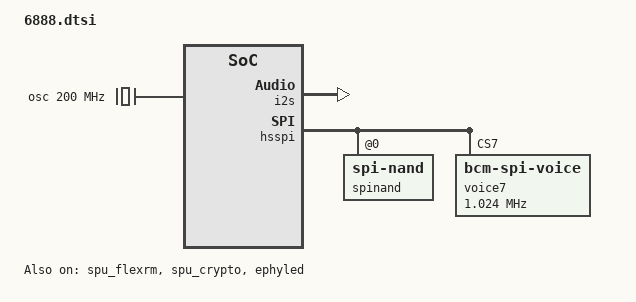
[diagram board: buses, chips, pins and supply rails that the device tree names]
/dts-v1/;

#include "linux_autoconf.h"

#include <dt-bindings/interrupt-controller/arm-gic.h>
#include <dt-bindings/interrupt-controller/irq.h>

#include "../../boot_rsvdmem.dtsi"
#include "../../bcm_thermal.dtsi"

/ {
    #define MODEL "Broadcom BCM96888"
    #define COMPATIBLE "brcm,bcm96888"

    /* memory reservations */
    #include "../../bcm_rsvdmem.dtsi"

    /* clocks */
    #define PERIPH_CLK      200000000
    #define HS_SPI_PLL_CLK  200000000
    #include "../../ip/bcm_clocks.dtsi"

    aliases {
        serial0     = &uart0;
        spi1        = &hsspi; /* 0 = legacy, 1 = high speed */
        hs_serial0  = &hs_uart0;
        spinand0    = &spinand;
        nand0       = &nand;
    };

    chosen {
        stdout-path = "serial0:115200n8";
        bootargs = "coherent_pool=2M cpuidle_sysfs_switch console=ttyAMA0,115200 earlyprintk  rootwait pci=pcie_bus_safe rng_core.default_quality=1024";
    };

    /* memc */
    memory_controller {
        #define MEMC_CPU_INT_LINE		18
        #include "../../ip/memc.dtsi"
    };

    /* wan type auto detect */
    wantype_detect {
        #define GPON_GENERAL_CONFIG_ADDR    0x0 0x80129000
        #define GPON_GENERAL_CONFIG_SIZE    0x0 0x10
        #define EPON_TOP_ADDR               0x0 0x80100000
        #define EPON_TOP_SIZE               0x0 0x1C
        #define EPON_LIF_ADDR               0x0 0x80101800
        #define EPON_LIF_SIZE               0x0 0x110
        #define EPON_XPCSR_ADDR             0x0 0x80103000
        #define EPON_XPCSR_SIZE             0x0 0x124
        #define NGPON_RXGEN_ADDR            0x0 0x8015C000
        #define NGPON_RXGEN_SIZE            0x0 0x80
        #include "../../ip/bcm_wantype_detect.dtsi"
    };

    misc_io {
        compatible = "brcm,misc-io";
        misc-periph-int-ctrl = <0x0 0xFF80260C 0x0 0x4>;
        sdio-emmc-clk-sel-mask = <0x00010000>;
        misc-emmc-cktap-ctrl = <0x0 0xFF80264C 0x0 0x20>;
        misc-periph-chip-id-rev     = <0x0 0xff800000 0x0 0x4>;
        misc-periph-chip-id-mask    = <0xfffff000>;
        misc-periph-chip-id-shift   = <12>;
        misc-periph-chip-rev-mask   = <0xfff>;
    };

    cci: cci {
        #define CCI_OFFSET              0x0 0x81100000
        #define CCI_SIZE                0x0 0x8000
        #define SLAVEINTF_CPU_NUM       1
        #include "../../ip/bcm_arm_cci500.dtsi"
    };

#if defined(CONFIG_BCM_PCIE_HCD) || defined (CONFIG_BCM_PCIE_HCD_MODULE)

    /* pcie common */
    pcie: pcie {
        compatible = "brcm,bcm-pcie";
        device_type = "cpci";
        brcm,pllclkid = <0x3210>;
    };

    /* pcie core 0 */
    pcie0: pcie@0 {
        #define PCIE_ID         0
        #define PCIE_SPI        79
        #define PCIE_ADDR       0x80080000
        #define PCIE_SIZE       0x0000A000
        #define PCIE_RANGE_ADDR 0xC0000000
        #define PCIE_RANGE_SIZE 0x10000000
        #include "../../ip/bcm_pcie_core.dtsi"
    };

    /* pcie core 1 */
    pcie1: pcie@1 {
        #define PCIE_ID         1
        #define PCIE_SPI        80
        #define PCIE_ADDR       0x80090000
        #define PCIE_SIZE       0x0000A000
        #define PCIE_RANGE_ADDR 0xD0000000
        #define PCIE_RANGE_SIZE 0x10000000
        #include "../../ip/bcm_pcie_core.dtsi"
    };

    /* pcie core 2 */
    pcie2: pcie@2 {
        #define PCIE_ID         2
        #define PCIE_SPI        81
        #define PCIE_ADDR       0x800A0000
        #define PCIE_SIZE       0x0000A000
        #define PCIE_RANGE_ADDR 0xE0000000
        #define PCIE_RANGE_SIZE 0x10000000
        #include "../../ip/bcm_pcie_core.dtsi"
    };

    /* pcie core 4 */
    pcie3: pcie@3 {
        #define PCIE_ID         3
        #define PCIE_SPI        82
        #define PCIE_ADDR       0x800B0000
        #define PCIE_SIZE       0x0000B000
        #define PCIE_RANGE_ADDR 0xA0000000
        #define PCIE_RANGE_SIZE 0x20000000
        #include "../../ip/bcm_pcie_core.dtsi"
    };
#endif // defined(CONFIG_BCM_PCIE_HCD) || defined (CONFIG_BCM_PCIE_HCD_MODULE)

    /* usb */
    usb_ctrl: usb_ctrl {
        #define USB_CTRL_ADDR   0x0 0x800CF200
        #define USB_CTRL_SIZE   0x0 0x200
        #include "../../ip/bcm_usb_ctrl.dtsi"
    };

    usb0_xhci: usb0_xhci {
        #define USB_ADDR    0x0 0x800C0000
        #define USB_SIZE    0x0 0x4a4
        #define GBL_ADDR    0x0 0x800CC100
        #define GBL_SIZE    0x0 0x548
        #define USB_IRQ     84
        #include "../../ip/bcm_usb_xhci.dtsi"
        xhci-no-companion;
    };

    /* PMC */
    pmc: pmc {
        #define PMC_REG_OFFSET          0x0 0xffb01018
        #define PMC_REG_SIZE            0x0 0x5080
        #define PROCMON_REG_OFFSET      0x0 0xffb20000
        #define PROCMON_REG_SIZE        0x0 0x240
        #define MAESTRO_REG_OFFSET      0x0 0xffb00400
        #define MAESTRO_REG_SIZE        0x0 0x5d0
        #define MAESTRO_DTCM_REG_OFFSET 0x0 0xffb80000
        #define MAESTRO_DTCM_REG_SIZE   0x0 0x1000
        #define MAESTRO_ITCM_REG_OFFSET 0x0 0xffbc0000
        #define MAESTRO_ITCM_REG_SIZE   0x0 0x4000
        #include "../../ip/bcm_pmc_3_2.dtsi"
    };

    /* UBUS */
    ubus: ubus {
        compatible      = "simple-bus";
        #address-cells  = <2>;
        #size-cells     = <2>;
        ranges;

        ubus_sys: ubus_sys {
            #address-cells = <2>;
            #size-cells    = <2>;
            #define UBUS_SYSTOP_OFFSET          0x0 0x83000000
            #define UBUS_SYSTOP_SIZE            0x0 0x80
            #define UBUS_REGISTRATION_OFFSET    0x0 0x83000200
            #define UBUS_REGISTRATION_SIZE      0x0 0x80
            #define UBUS_COHERENCY_PORT_OFFSET  0x0 0x810A0400
            #define UBUS_COHERENCY_PORT_SIZE    0x0 0x400
            #define UBUS_MODULE_XRDP            0x0
            #include "../../ip/bcm_ubus4.dtsi"
            ubus_mst_sys: ubus_mst {
                reg-names = "PER", "BIU", "MPM", "PCIE0",
                    "PCIE1", "PCIE2", "PCIE3", "SPU",
                    "USB", "DMA0", "DMA1", "DMA2",
                    "DMA3", "QM", "DQM", "RQ0",
                    "RQ1", "NATC";
                reg = <0x0 0x83010000 0x0 0x1000>,
                    <0x0 0x83020000 0x0 0x1000>,
                    <0x0 0x83030000 0x0 0x1000>,
                    <0x0 0x83038000 0x0 0x1000>,
                    <0x0 0x83040000 0x0 0x1000>,
                    <0x0 0x83048000 0x0 0x1000>,
                    <0x0 0x83050000 0x0 0x1000>,
                    <0x0 0x83058000 0x0 0x1000>,
                    <0x0 0x83070000 0x0 0x1000>,
                    <0x0 0x83078000 0x0 0x1000>,
                    <0x0 0x83088000 0x0 0x1000>,
                    <0x0 0x83090000 0x0 0x1000>,
                    <0x0 0x83098000 0x0 0x1000>,
                    <0x0 0x830a0000 0x0 0x1000>,
                    <0x0 0x830a8000 0x0 0x1000>,
                    <0x0 0x830b0000 0x0 0x1000>,
                    <0x0 0x830b8000 0x0 0x1000>,
                    <0x0 0x830bc000 0x0 0x1000>;
            };
        };

        ubus_dcm_sys: ubus_dcm_sys {
            #define UBUS_DCM_CLK_OFFSET  0x0 0x83000080
            #define UBUS_DCM_CLK_SIZE    0x0 0x80
            #define UBUS_MODULE_XRDP     0x0
            #include "../../ip/bcm_ubus4_dcm.dtsi"
        };
    };

    periph {
        compatible = "simple-bus";
        #address-cells = <2>;
        #size-cells = <2>;
        ranges = <0x0 0x0 0x0 0xff800000 0x0 0x100000>;

        /* boot state */
        boot_state: boot_state {
            #define RESET_REASON_OFFSET 0x0 0x2628
            #define RESET_REASON_SIZE   0x0 0x4
            #define RESET_STATUS_OFFSET 0x0 0x5a01c
            #define RESET_STATUS_SIZE   0x0 0x4
            #include "../../ip/bcm_boot_state_v2.dtsi"
        };

        strap: strap {
            #define STRAP_REG_OFFSET            0x0 0x2600
            #define STRAP_REG_SIZE              0x0 0x4
            #include "../../ip/bcm_strap.dtsi"
            boot-select-0=<0 1>;
            boot-select-1=<1 1>;
            boot-select-2=<2 1>;
            boot-select-3=<3 1>;
            boot-select-4=<4 1>;
            boot-select-5=<5 1>;
            bootrom-boot=<12 0>;
        };

        dying_gasp: dying_gasp {
            #define DG_PERIPH_REG_OFFSET    0x0 0x5A004
            #define DG_PERIPH_REG_SIZE      0x0 0x4
            #define DG_UART_DR_OFFSET       0x0 0x12000
            #define DG_UART_DR_SIZE         0x0 0x4
            #include "../../ip/bcm_dgasp_periph.dtsi"
            interrupts = <GIC_SPI 28 IRQ_TYPE_LEVEL_HIGH>;
        };

        otp: otp {
            #define OTP_REG_OFFSET          0x0 0x2800
            #define OTP_REG_SIZE            0x0 0x64
            #include "../../ip/bcm_otp.dtsi"
        };

        nand: nand {
            pinctrl-0 = <&nand_data_pins &nand_ctrl_pins>;
            pinctrl-names = "default";
            #define NAND_CTRL_OFFSET    0x0 0x1800
            #define NAND_CTRL_SIZE      0x0 0x400
            #define NAND_INTR_OFFSET    0x0 0x2000
            #define NAND_INTR_SIZE      0x0 0x10
            #define NAND_CACHE_OFFSET   0x0 0x1C00
            #define NAND_CACHE_SIZE     0x0 0x200
            #include "../../ip/bcm_nand7_1.dtsi"
        };

        /* EMMC */
        sdhci: sdhci {
            pinctrl-0 = <&emmc_ctrl_pins>;
            pinctrl-names="default";
            #define SDHCI_OFFSET			0x0 0x20000
            #define SDHCI_SIZE				0x0 0x300
            #define SDHCI_TOPCFG_OFFSET		0x0 0x20300
            #define SDHCI_TOPCFG_SIZE		0x0 0x200
            #define SDHCI_BOOT_OFFSET		0x0 0x20500
            #define SDHCI_BOOT_SIZE			0x0 0x40
            #define SDHCI_AHBSS_CTRL_OFFSET	0x0 0x10300
            #define SDHCI_AHBSS_CTRL_SIZE	0x0 0x100
            #define SDIO_EMMC_SPI			38
            #define SDHCI_HS200_BASE_CLOCK_FREQ 200000000
            sdhci-pll-baseclk-mhz = <6000>;
            sdhci-pll-valid-op-mhz = <50 100 133 157 181 200>;
            #include "../../ip/bcm_sdhci.dtsi"
        };

        /* UART */
        uart0: serial0 {
            #define UART_OFFSET     0x0 0x12000
            #define UART_SIZE       0x0 0x1000
            #define UART_SPI        31
            #define UART_CLK_LABEL  refclk50mhz
            #define UART_CLK        50000000
            #include "../../ip/bcm_arm_uart.dtsi"
        };

        uart1: serial1 {
            #define UART_OFFSET     0x0 0x13000
            #define UART_SIZE       0x0 0x1000
            #define UART_SPI        32
            #define UART_CLK_LABEL  refclk50mhz
            #define UART_CLK        50000000
            #include "../../ip/bcm_arm_uart.dtsi"
        };

        uart2: serial2 {
            #define UART_OFFSET     0x0 0x15000
            #define UART_SIZE       0x0 0x1000
            #define UART_SPI        33
            #define UART_CLK_LABEL  refclk50mhz
            #define UART_CLK        50000000
            #include "../../ip/bcm_arm_uart.dtsi"
        };

        hs_uart0: hs_serial0 {
            #define UART_OFFSET     0x0 0x10400
            #define UART_SIZE       0x0 0x1E0
            #define UART_SPI        34
            #include "../../ip/bcm_hs_uart.dtsi"
        };

        rng: rng {
            #define RNG200_OFFSET   0x0 0x00000b80
            #define RNG200_SIZE     0x0 0x30
            #include "../../ip/bcm_rng200.dtsi"
        };

        /* i2c */
        i2c0: i2c0 {
            #define I2C_OFFSET      0x0 0x2100
            #define I2C_SIZE        0x0 0x60
            #include "../../ip/bcm_i2c_bus.dtsi"
        };

        i2c1: i2c1 {
            #define I2C_OFFSET      0x0 0x5a800
            #define I2C_SIZE        0x0 0x60
            #include "../../ip/bcm_i2c_bus.dtsi"
        };

        bcm63xx-apm-pcm {
            compatible = "brcm,bcm63xx-apm-pcm";
            reg = <0x0 0x60000 0x0 0x1c60>;
            interrupts = <GIC_SPI 41 IRQ_TYPE_LEVEL_HIGH>;
        };

        i2s: bcm63xx-i2s {
            compatible  = "brcm,bcm63xx-i2s";
            reg         = <0x0 0x2080 0x0 0x80>;
            interrupts  = <GIC_SPI 44 IRQ_TYPE_LEVEL_HIGH>;
            clocks      = <&i2sclk>, <&osc>;
            clock-names = "i2sclk","i2sosc";
        };

        /* watchdog */
        wdt: watchdog {
            #define WATCHDOG_OFFSET     0x0 0x480
            #define WATCHDOG_SIZE       0x0 0x14
            #define WATCHDOG_TIMEOUT    80
            #include "../../ip/bcm_wdt.dtsi"
            interrupts = <GIC_SPI 16 IRQ_TYPE_LEVEL_HIGH>;
        };

        wdt1: watchdog1 {
            #define WATCHDOG_OFFSET     0x0 0x4c0
            #define WATCHDOG_SIZE       0x0 0x14
            #define WATCHDOG_TIMEOUT    80
            #include "../../ip/bcm_wdt.dtsi"
            interrupts = <GIC_SPI 15 IRQ_TYPE_LEVEL_HIGH>;
        };

        /* periph timers */
        timers: timers {
            #define TIMERS_OFFSET       0x0 0x400
            #define TIMERS__SIZE        0x0 0x48
            #define TIMER0_SPI          11
            #define TIMER1_SPI          12
            #define TIMER2_SPI          13
            #define TIMER3_SPI          14
            #include "../../ip/bcm_timer.dtsi"
        };

        /* watchdog reboot */
        wdt-reboot {
            compatible    = "wdt-reboot";
            wdt            = <&wdt>;
        };

        pincontroller: pinctrl {
            #define PINCTRL_OFFSET      0x0 0x554
            #define PINCTRL_SIZE        0x0 0xc
            #define PINCTRL_NUM_PINS    77
            #define PINCTRL_NUM_FUNC    7
            #define PINCTRL_GPIO_FUNC   4
            #include "../../ip/bcm_bca_pinctrl.dtsi"
            #include "6888_pinctrl.dtsi"
        };

        /* gpio */
        gpioc: gpioc {
            #define GPIO_DIR_OFFSET     0x0 0x500
            #define GPIO_DIR_SIZE       0x0 0x20
            #define GPIO_DATA_OFFSET    0x0 0x520
            #define GPIO_DATA_SIZE      0x0 0x20
            #define NUM_OF_GPIOS        77
            #include "../../ip/bcm_bca_gpio.dtsi"
        };

        /* external interrups */
        bca_extintr: bca_extintr0 {
            #define EXTINTR_OFFSET  0x0 0x4
            #define EXTINTR_SIZE    0x0 0x48
            #define INTSET0_OFFSET  0x0 0x100
            #define INTSET0_SIZE    0x0 0x90
            #define INTSET1_OFFSET  0x0 0x200
            #define INTSET1_SIZE    0x0 0x90
            #define MAX_EXT_INTR    8
            #include "../../ip/bcm_bca_extintr.dtsi"
            external_interrupts = <47 48 49 50 51 52 53 54>;
        };

        /* HS SPI */
        hsspi: spi {
            pinctrl-0 = <&spim_group_pins>;
            pinctrl-names = "default";
            #define HS_SPI_OFFSET   0x0 0x1000
            #define HS_SPI_SIZE     0x0 0x600
            #define HS_SPI_MAX_FREQ 50000000
            /* #define HS_SPIM_SPI     36 */
            #include "../../ip/bcm_hsspi.dtsi"

            spinand: spi-nand@0 {
                pinctrl-0     = <&spim_ss0_b_pin_25>;
                pinctrl-names = "default";
                #define SPINAND_MAX_FREQ    50000000
                #include "../../ip/bcm_spinand.dtsi"
            };

            voice7 {
                pinctrl-0     = <&b_pcm_clk_pin_20 &b_pcm_fs_pin_21 &b_pcm_sdin_pin_18 &b_pcm_sdout_pin_19>;
                pinctrl-names = "default";
                compatible    = "bcm-spi-voice";
                reg           = <7>; /* chip select 7 */
                spi-index     = <7>;/* ZSI/ISI header position index */
                spi-max-frequency = <1024000>;
            };

        };

        /* Led Controller */
        led_ctrl: led_ctrl {
            #define CLED_GLBL_CTRL_OFFSET           0x0 0x3000
            #define CLED_GLBL_CTRL_SIZE             0x0 0x4
            #define CLED_HW_EN_OFFSET               0x0 0x3004
            #define CLED_HW_EN_SIZE                 0x0 0x4
            #define CLED_SER_SHIFT_OFFSET           0x0 0x3008
            #define CLED_SER_SHIFT_SIZE             0x0 0x4
            #define CLED_HW_POLARITY_OFFSET         0x0 0x300c
            #define CLED_HW_POLARITY_SIZE           0x0 0x4
            #define CLED_SW_SET_OFFSET              0x0 0x3010
            #define CLED_SW_SET_SIZE                0x0 0x4
            #define CLED_SW_POLARITY_OFFSET         0x0 0x3014
            #define CLED_SW_POLARITY_SIZE           0x0 0x4
            #define CLED_CH_ACTIVATE_OFFSET         0x0 0x301c
            #define CLED_CH_ACTIVATE_SIZE           0x0 0x4
            #define CLED_XX_CONFIG_OFFSET           0x0 0x3020
            #define CLED_XX_CONFIG_SIZE             0x0 0x200
            #define CLED_SW_CLEAR_OFFSET            0x0 0x3444
            #define CLED_SW_CLEAR_SIZE              0x0 0x4
            #define CLED_SW_STATUS_OFFSET           0x0 0x3448
            #define CLED_SW_STATUS_SIZE             0x0 0x4
            #define CLED_OUT_MUX_OFFSET             0x0 0x3460
            #define CLED_OUT_MUX_SIZE               0x0 0x20
            #define CLED_SERIAL_POLARITY_OFFSET     0x0 0x3454
            #define CLED_SERIAL_POLARITY_SIZE       0x0 0x4
            #define CLED_PARALLEL_POLARITY_OFFSET   0x0 0x3018
            #define CLED_PARALLEL_POLARITY_SIZE     0x0 0x4
            #define MAX_SUPPORTED_LEDS              32

            #include "../../ip/bcm_cled_v2_ctrl.dtsi"
            #include "6888_leds.dtsi"
        };
    };

    legacy_leds: legacy_leds {
        compatible = "brcm,legacy-led";
    };

    ephyled {
        compatible = "brcm,ephy-led";
        led_reg_max = <16>;
        reg-names = "aggregate_ctrl", "led_reg_0", "led_reg_1", "led_reg_2",\
                    "led_reg_3", "led_reg_4","led_reg_5", "led_reg_6",\
                    "led_reg_7", "led_reg_8", "led_reg_9", "led_reg_10",\
                    "led_reg_11", "led_reg_12", "led_reg_13", "led_reg_14",\
                    "led_reg_15";
        reg = <0 0x837FF1DC 0 0x4>, <0 0x837FF108 0 0xc>, <0 0x837FF114 0 0xc>, <0 0x837FF120 0 0xc>,\
              <0 0x837FF12C 0 0xc>, <0 0x837FF138 0 0xc>, <0 0x837FF144 0 0xc>, <0 0x837FF150 0 0xc>,\
              <0 0x837FF15C 0 0xc>, <0 0x837FF168 0 0xc>, <0 0x837FF174 0 0xc>, <0 0x837FF180 0 0xc>,\
              <0 0x837FF18C 0 0xc>, <0 0x837FF198 0 0xc>, <0 0x837FF1A4 0 0xc>, <0 0x837FF1B0 0 0xc>,\
              <0 0x837FF1BC 0 0xc>;
        status = "okay";
    };

    xport:xport {
        compatible = "brcm,xport";
        reg = <0x0 0x837f0000 0x0 0xc000>,  /* XPORT base */
              <0x0 0x828b2000 0x0 0x1800>;  /* XLIF base */
        status = "disabled";
    };

    ethphytop:ethphytop {
        compatible = "brcm,eth-phy-top";
        reg = <0x0 0x837ff000 0x0 0x1000>;
        xphy0-addr = <0x2>;
        xphy1-addr = <0x3>;
        status = "disabled";
    };

    egphy:egphy {
        compatible = "brcm,egphy";
        reg = <0x0 0x837ff010 0x0 0x0c>;
        base-addr = <0x8>;
        status = "disabled";
    };

    rgmii:rgmii {
        compatible = "brcm,rgmii2";
        reg = <0x0 0x837ff1e4 0x0 0x40>,
              <0x0 0xff800500 0x0 0x78>;
        status = "disabled";
    };

    unimac:unimac {
        compatible = "brcm,unimac3";
        reg = <0x0 0x828a8000 0x0 0x5000>,
              <0x0 0x828b0000 0x0 0x1400>;
        conf_offset = <0x1000>;
        mib_offset = <0x400>;
        top_offset = <0x400>;
        status = "disabled";
    };

    serdes:serdes {
        compatible = "brcm,serdes1";
        reg = <0x0 0x837ff500 0x0 0x200>;
        status = "disabled";
    };

    mdio1:mdio1 {
        compatible = "brcm,mdio1";
        reg = <0x0 0x837ffd00 0x0 0x10>;
        status = "disabled";
    };

    mpcs:mpcs{
        compatible = "brcm,mpcs";
        reg = <0x0 0x80104000 0x0 0x100
               0x0 0x80100000 0x0 0x10>;
        status = "disabled";
    };

    mdio: mdio {
        compatible = "simple-bus";
        bus-type = "MDIO_V1";
        #address-cells = <1>;
        #size-cells = <0>;

        egphy0:egphy0 {
            compatible = "brcm,bcaphy";
            phy-type = "EGPHY";
            reg = <0x8>;
            status = "disabled";
        };

        egphy1:egphy1 {
            compatible = "brcm,bcaphy";
            phy-type = "EGPHY";
            reg = <0x9>;
            status = "disabled";
        };

        egphy2:egphy2 {
            compatible = "brcm,bcaphy";
            phy-type = "EGPHY";
            reg = <0xa>;
            status = "disabled";
        };

        egphy3:egphy3 {
            compatible = "brcm,bcaphy";
            phy-type = "EGPHY";
            reg = <0xb>;
            status = "disabled";
        };

        rgmii_phy:rgmii_phy {
            compatible = "brcm,bcaphy";
            phy-type = "EXT1";
            reg = <0x1>;
            status = "disabled";
        };

        xphy0:xphy0 {
            compatible = "brcm,bcaphy";
            phy-type = "EXT3";
            reg = <0x2>;
            caps-no-hdx;
            status = "disabled";
        };

        xphy1:xphy1 {
            compatible = "brcm,bcaphy";
            phy-type = "EXT3";
            reg = <0x3>;
            caps-no-hdx;
            status = "disabled";
        };

        serdes00_xphy:serdes00_xphy {
            compatible = "brcm,bcaphy";
            phy-type = "EXT3";
            reg = <0x4>;
            caps-no-hdx;
            status = "disabled";
        };

        serdes01_xphy:serdes01_xphy {
            compatible = "brcm,bcaphy";
            phy-type = "EXT3";
            reg = <0x5>;
            caps-no-hdx;
            status = "disabled";
        };

        serdes02_xphy:serdes02_xphy {
            compatible = "brcm,bcaphy";
            phy-type = "EXT3";
            reg = <0x6>;
            caps-no-hdx;
            status = "disabled";
        };

        serdes03_xphy:serdes03_xphy {
            compatible = "brcm,bcaphy";
            phy-type = "EXT3";
            reg = <0x7>;
            caps-no-hdx;
            status = "disabled";
        };

        serdes10_xphy:serdes10_xphy {
            compatible = "brcm,bcaphy";
            phy-type = "EXT3";
            reg = <0xc>;
            caps-no-hdx;
            status = "disabled";
        };

        serdes11_xphy:serdes11_xphy {
            compatible = "brcm,bcaphy";
            phy-type = "EXT3";
            reg = <0xd>;
            caps-no-hdx;
            status = "disabled";
        };

        serdes12_xphy:serdes12_xphy {
            compatible = "brcm,bcaphy";
            phy-type = "EXT3";
            reg = <0xe>;
            caps-no-hdx;
            status = "disabled";
        };

        serdes13_xphy:serdes13_xphy {
            compatible = "brcm,bcaphy";
            phy-type = "EXT3";
            reg = <0xf>;
            caps-no-hdx;
            status = "disabled";
        };

        serdes00:serdes00 {
             compatible = "brcm,bcaphy";
             phy-type = "SHORTFIN";
             reg = <0x10>;
             serdes-core = <0>;
             serdes-lane = <0>;
             status = "disabled";
        };

        serdes01:serdes01 {
             compatible = "brcm,bcaphy";
             phy-type = "SHORTFIN";
             reg = <0x11>;
             serdes-core = <0>;
             serdes-lane = <1>;
             status = "disabled";
        };

        serdes02:serdes02 {
             compatible = "brcm,bcaphy";
             phy-type = "SHORTFIN";
             reg = <0x12>;
             serdes-core = <0>;
             serdes-lane = <2>;
             status = "disabled";
        };

        serdes03:serdes03 {
             compatible = "brcm,bcaphy";
             phy-type = "SHORTFIN";
             reg = <0x13>;
             serdes-core = <0>;
             serdes-lane = <3>;
             status = "disabled";
        };

        serdes10:serdes10 {
             compatible = "brcm,bcaphy";
             phy-type = "SHASTA";
             reg = <0x14>;
             serdes-core = <1>;
             serdes-lane = <0>;
             status = "disabled";
        };

        serdes11:serdes11 {
            compatible = "brcm,bcaphy";
            phy-type = "SHASTA";
            reg = <0x15>;
            serdes-core = <1>;
            serdes-lane = <1>;
            status = "disabled";
        };

        serdes12:serdes12 {
            compatible = "brcm,bcaphy";
            phy-type = "SHASTA";
            reg = <0x16>;
            serdes-core = <1>;
            serdes-lane = <2>;
            status = "disabled";
        };

        serdes13:serdes13 {
            compatible = "brcm,bcaphy";
            phy-type = "SHASTA";
            reg = <0x17>;
            serdes-core = <1>;
            serdes-lane = <3>;
            status = "disabled";
        };

        wan_xphy:wan_xphy {
             compatible = "brcm,bcaphy";
             phy-type = "EXT3";
             reg = <0x1b>;
             caps-no-hdx;
             status = "disabled";
        };

        wan_ae:wan_ae {
             compatible = "brcm,bcaphy";
             phy-type = "AE";
             reg = <0x20>;
             status = "disabled";
        };
    };

    wan_serdes_bus {
        compatible = "simple-bus";

        #address-cells = <1>;
        #size-cells = <0>;

        phy_wan_serdes: phy_wan_serdes {
            compatible = "brcm,bcaphy";
            phy-type = "PON";
            reg = <0>;
            status = "disabled";
        };
    };

    switch0:switch0 {
            compatible = "brcm,enet";
            label = "bcmsw";
            sw-type = "RUNNER_SW";
            bandwidth = <42000>;

            ports {
                #address-cells = <1>;
                #size-cells = <0>;

                port_gphy0 {
                    reg = <0>;
                    mac-type = "UNIMAC";
                    phy-handle = <&egphy0>;
                    phy-mode = "gmii";
                    status = "disabled";
                };

                port_gphy1 {
                    reg = <1>;
                    mac-type = "UNIMAC";
                    phy-handle = <&egphy1>;
                    phy-mode = "gmii";
                    status = "disabled";
                };

                port_gphy2 {
                    reg = <2>;
                    mac-type = "UNIMAC";
                    phy-handle = <&egphy2>;
                    phy-mode = "gmii";
                    status = "disabled";
                };

                port_gphy3 {
                    reg = <3>;
                    mac-type = "UNIMAC";
                    phy-handle = <&egphy3>;
                    phy-mode = "gmii";
                    status = "disabled";
                };

                port_rgmii {
                    reg = <4>;
                    mac-type = "UNIMAC";
                    phy-handle = <&rgmii_phy>;
                    phy-mode = "rgmii";
                    status = "disabled";
                };

                port_xgphy0 {
                    reg = <5>;
                    mac-type = "XPORT";
                    mac-index = <0>;
                    phy-handle = <&xphy0>;
                    phy-mode = "xfi";
                    status = "disabled";
                };

                port_wan@ae {
                    reg = <6>;
                    mac-type = "XPORT";
                    mac-index = <1>;
                    phy-handle = <&wan_ae>;
                    phy-mode = "xfi";
                    detect;
                    is-wanconf-ae;
                    status = "disabled";
                };

                port_xgphy1 {
                    reg = <7>;
                    mac-type = "XPORT";
                    mac-index = <2>;
                    phy-handle = <&xphy1>;
                    phy-mode = "xfi";
                    status = "disabled";
                };

                port_slan0 {
                    reg = <8>;
                    mac-type = "XPORT";
                    mac-index = <4>;
                    phy-handle = <&serdes00>;
                    phy-mode = "xfi";
                    status = "disabled";
                };

                port_slan1 {
                    reg = <9>;
                    mac-type = "XPORT";
                    mac-index = <5>;
                    phy-handle = <&serdes01>;
                    phy-mode = "xfi";
                    status = "disabled";
                };

                port_slan2 {
                    reg = <10>;
                    mac-type = "XPORT";
                    mac-index = <6>;
                    phy-handle = <&serdes02>;
                    phy-mode = "xfi";
                    status = "disabled";
                };

                port_slan3 {
                    reg = <11>;
                    mac-type = "XPORT";
                    mac-index = <7>;
                    phy-handle = <&serdes03>;
                    phy-mode = "xfi";
                    status = "disabled";
                };

                port_qlan0 {
                    reg = <12>;
                    mac-type = "XPORT";
                    mac-index = <8>;
                    phy-handle = <&serdes10>;
                    phy-mode = "xfi";
                    status = "disabled";
                };

                port_qlan1 {
                    reg = <13>;
                    mac-type = "XPORT";
                    mac-index = <9>;
                    phy-handle = <&serdes11>;
                    phy-mode = "xfi";
                    status = "disabled";
                };

                port_qlan2 {
                    reg = <14>;
                    mac-type = "XPORT";
                    mac-index = <10>;
                    phy-handle = <&serdes12>;
                    phy-mode = "xfi";
                    status = "disabled";
                };

                port_qlan3 {
                    reg = <15>;
                    mac-type = "XPORT";
                    mac-index = <11>;
                    phy-handle = <&serdes13>;
                    phy-mode = "xfi";
                    status = "disabled";
                };

                port_wan@fiber {
                    reg = <16>;
                    phy-handle = <&phy_wan_serdes>;
                    phy-mode = "serdes";                    
                    detect;
                    is-wanconf-mux-pon;
                    is-wan;
                    status = "disabled";
                };
            };
        };

    /* spu */
    #define SPU_DMA_ADDR        0x00000000 0x83800000
    #define SPU_DMA_SIZE        0x00000000 0x400000
    #define SPU_DMA_NUM_CHAN    4
    #define SPU_DMA_NUM_AE      2
    #define SPU_CRYPTO_ADDR     0x00000000 0x83800000
    #define SPU_CRYPTO_SIZE     0x00000000 0x400000
    #define SPU_GMAC_SPI        67
    #include "../../ip/bcm_spu.dtsi"

    gpon_drv {
        compatible = "brcm,gpon-drv";
        reg = <0x0 0x80128000 0x0 0x1c00>;
        interrupts = <GIC_SPI 173  IRQ_TYPE_LEVEL_HIGH>, /* INTERRUPT_WAN_GPON_RX */
                     <GIC_SPI 172  IRQ_TYPE_LEVEL_HIGH>; /* INTERRUPT_WAN_GPON_TX */
        interrupt-names = "gpon_rx", "gpon_tx";
    };
    ngpon_drv {
        compatible = "brcm,ngpon-drv";
        reg = <0x0 0x8015c000 0x0 0x9080>;
        enforce-long-preamble;
        interrupts = <GIC_SPI 161  IRQ_TYPE_LEVEL_HIGH>, /* INTERRUPT_WAN_XGRX */
                     <GIC_SPI 165  IRQ_TYPE_LEVEL_HIGH>, /* INTERRUPT_WAN_XGTX_INTR0 */
                     <GIC_SPI 164  IRQ_TYPE_LEVEL_HIGH>, /* INTERRUPT_WAN_XGTX_INTR1 */
                     <GIC_SPI 163  IRQ_TYPE_LEVEL_HIGH>; /* INTERRUPT_WAN_XGTX_INTR2 */
        interrupt-names = "ngpon_rx", "ngpon_tx0", "ngpon_tx1", "ngpon_tx2";
    };
    wan_serdes {
        compatible = "brcm,pon-drv";
        status = "disabled";
        reg = <0x0 0x80104000 0x0 0x1cc00>;
    };
    epon_drv {
        compatible = "brcm,epon-drv";
        reg = <0x0 0x80100000 0x0 0x4000>;
    };

    /* xrdp,wan_bbh */
    rdpa_drv {
        compatible = "brcm,rdpa";
        reg = <0x0 0x82000000 0x0 0xCAF004>,
              <0x0 0x80170000 0x0 0x122a8>;
        interrupts = <GIC_SPI 128 IRQ_TYPE_LEVEL_HIGH>, /* INTERRUPT_XRDP_FPM/INTERRUPT_XRDP_QUEUE_32 */
                     <GIC_SPI 96  IRQ_TYPE_LEVEL_HIGH>, /* INTERRUPT_XRDP_QUEUE_0 */
                     <GIC_SPI 97  IRQ_TYPE_LEVEL_HIGH>, /* INTERRUPT_XRDP_QUEUE_1 */
                     <GIC_SPI 98  IRQ_TYPE_LEVEL_HIGH>, /* INTERRUPT_XRDP_QUEUE_2 */
                     <GIC_SPI 99  IRQ_TYPE_LEVEL_HIGH>, /* INTERRUPT_XRDP_QUEUE_3 */
                     <GIC_SPI 100 IRQ_TYPE_LEVEL_HIGH>, /* INTERRUPT_XRDP_QUEUE_4 */
                     <GIC_SPI 101 IRQ_TYPE_LEVEL_HIGH>, /* INTERRUPT_XRDP_QUEUE_5 */
                     <GIC_SPI 102 IRQ_TYPE_LEVEL_HIGH>, /* INTERRUPT_XRDP_QUEUE_6 */
                     <GIC_SPI 103 IRQ_TYPE_LEVEL_HIGH>, /* INTERRUPT_XRDP_QUEUE_7 */
                     <GIC_SPI 104 IRQ_TYPE_LEVEL_HIGH>, /* INTERRUPT_XRDP_QUEUE_8 */
                     <GIC_SPI 105 IRQ_TYPE_LEVEL_HIGH>, /* INTERRUPT_XRDP_QUEUE_9 */
                     <GIC_SPI 106 IRQ_TYPE_LEVEL_HIGH>, /* INTERRUPT_XRDP_QUEUE_10 */
                     <GIC_SPI 107 IRQ_TYPE_LEVEL_HIGH>, /* INTERRUPT_XRDP_QUEUE_11 */
                     <GIC_SPI 108 IRQ_TYPE_LEVEL_HIGH>, /* INTERRUPT_XRDP_QUEUE_12 */
                     <GIC_SPI 109 IRQ_TYPE_LEVEL_HIGH>, /* INTERRUPT_XRDP_QUEUE_13 */
                     <GIC_SPI 110 IRQ_TYPE_LEVEL_HIGH>, /* INTERRUPT_XRDP_QUEUE_14 */
                     <GIC_SPI 111 IRQ_TYPE_LEVEL_HIGH>, /* INTERRUPT_XRDP_QUEUE_15 */
                     <GIC_SPI 112 IRQ_TYPE_LEVEL_HIGH>, /* INTERRUPT_XRDP_QUEUE_16 */
                     <GIC_SPI 113 IRQ_TYPE_LEVEL_HIGH>, /* INTERRUPT_XRDP_QUEUE_17 */
                     <GIC_SPI 114 IRQ_TYPE_LEVEL_HIGH>, /* INTERRUPT_XRDP_QUEUE_18 */
                     <GIC_SPI 115 IRQ_TYPE_LEVEL_HIGH>, /* INTERRUPT_XRDP_QUEUE_19 */
                     <GIC_SPI 116 IRQ_TYPE_LEVEL_HIGH>, /* INTERRUPT_XRDP_QUEUE_20 */
                     <GIC_SPI 117 IRQ_TYPE_LEVEL_HIGH>, /* INTERRUPT_XRDP_QUEUE_21 */
                     <GIC_SPI 118 IRQ_TYPE_LEVEL_HIGH>, /* INTERRUPT_XRDP_QUEUE_22 */
                     <GIC_SPI 119 IRQ_TYPE_LEVEL_HIGH>, /* INTERRUPT_XRDP_QUEUE_23 */
                     <GIC_SPI 120 IRQ_TYPE_LEVEL_HIGH>, /* INTERRUPT_XRDP_QUEUE_24 */
                     <GIC_SPI 121 IRQ_TYPE_LEVEL_HIGH>, /* INTERRUPT_XRDP_QUEUE_25 */
                     <GIC_SPI 122 IRQ_TYPE_LEVEL_HIGH>, /* INTERRUPT_XRDP_QUEUE_26 */
                     <GIC_SPI 123 IRQ_TYPE_LEVEL_HIGH>, /* INTERRUPT_XRDP_QUEUE_27 */
                     <GIC_SPI 124 IRQ_TYPE_LEVEL_HIGH>, /* INTERRUPT_XRDP_QUEUE_28 */
                     <GIC_SPI 125 IRQ_TYPE_LEVEL_HIGH>, /* INTERRUPT_XRDP_QUEUE_29 */
                     <GIC_SPI 126 IRQ_TYPE_LEVEL_HIGH>, /* INTERRUPT_XRDP_QUEUE_30 */
                     <GIC_SPI 127 IRQ_TYPE_LEVEL_HIGH>; /* INTERRUPT_XRDP_QUEUE_31 */
        interrupt-names = "fpm", "queue0", "queue1", "queue2", "queue3", "queue4", "queue5",
                          "queue6", "queue7", "queue8", "queue9", "queue10", "queue11", 
                          "queue12", "queue13", "queue14", "queue15", "queue16", "queue17",
                          "queue18", "queue19", "queue20", "queue21", "queue22", "queue23",
                          "queue24", "queue25", "queue26", "queue27", "queue28", "queue29",
                          "queue30", "queue31";
    };
};

&clocks {
    #address-cells = <0x2>;
    #size-cells = <0x2>;
    i2s_clkmclk_syscon: i2s_clkmclk_syscon{
        compatible = "brcm,i2s-audio-clkmclk-syscon", "syscon";
        reg = <0x0 0xFF802080 0x0 0x4>;
    };
    osc: oscillator {
        #clock-cells = <0>;
        compatible = "fixed-clock";
        clock-frequency = <200000000>;
    };

    i2sclk: i2sclk {
        #clock-cells = <0>;
        compatible = "brcm,i2s-clock";
        clocks = <&osc>;
        clk-mclk-syscon = <&i2s_clkmclk_syscon>;
        clock-output-names= "i2s_clk";
    };
};

&spu_flexrm {
    status = "okay";
    dma-coherent;
};
&spu_crypto {
    brcm,spu_type = <2>;
    status = "okay";
};

